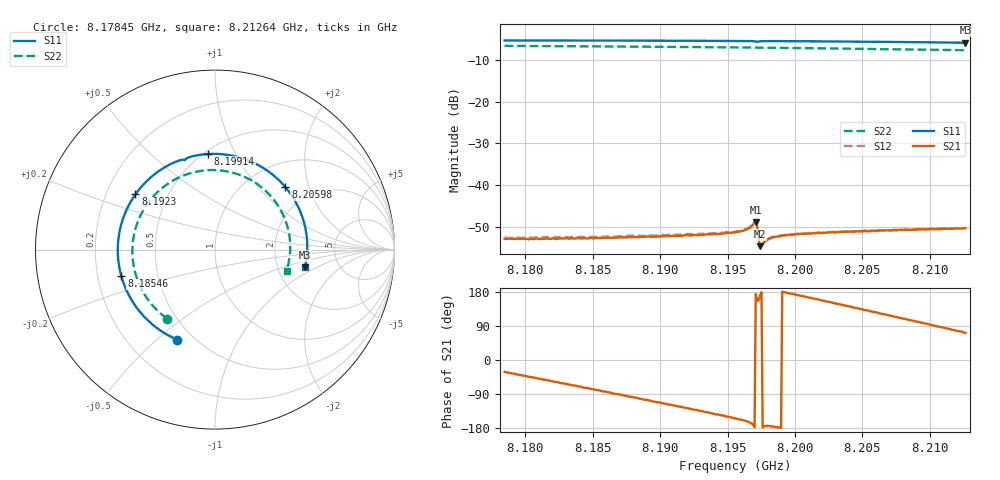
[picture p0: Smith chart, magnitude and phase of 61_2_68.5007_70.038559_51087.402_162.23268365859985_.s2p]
#  HZ  S  RI  R  50.00
! Rohde & Schwarz Vector Network Analyzer
! Rohde-Schwarz,ZNB20-2Port,1311601062101988,3.16
! Created: UTC 3/20/2024, 5:06:24 PM
! freq[Hz]  re:S11  im:S11  re:S21  im:S21  re:S12  im:S12  re:S22  im:S22
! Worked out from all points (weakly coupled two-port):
!   401 points, 8.17845 GHz to 8.21264 GHz, reference 50 ohm
!   highest |S21| = -48.89 dB at 8.19709 GHz (marker M1); lowest = -54.7 dB at 8.19743 GHz (marker M2)
!   lowest |S11| = -5.8 dB at 8.21264 GHz (marker M3), VSWR 3.09, Z = 143 - j37.9 ohm
!   |S11| at or under -10 dB: nowhere
!   |S22| runs from -7.6 to -6.6 dB; largest |S21 - S12| = 0.0002
!   S11 on the Smith chart (normalised r, x): 8.17845 GHz: 0.41, -0.58; 8.18546 GHz: 0.30, -0.13; 8.1923 GHz: 0.33, +0.28; 8.19914 GHz: 0.53, +0.78; 8.20598 GHz: 1.48, +1.42; 8.21264 GHz: 2.86, -0.76
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8.17845e9  -0.2117 -0.5012  0.00191 -0.00117  0.00199 -0.00126  -0.2686 -0.3842
8.1811e9  -0.365 -0.4028  0.00145 -0.00172  0.00147 -0.00181  -0.3731 -0.2788
8.184177e9  -0.491 -0.2318  0.00072 -0.00214  0.000701 -0.00228  -0.4456 -0.1242
8.18546e9  -0.5219 -0.1481  0.0004 -0.00226  0.000358 -0.00238  -0.4582 -0.054
8.187682e9  -0.5418 0.00521  -0.000284 -0.00234  -0.000295 -0.00241  -0.4539 0.069
8.189905e9  -0.5172 0.1583  -0.000886 -0.00222  -0.000991 -0.00229  -0.4169 0.1864
8.192298e9  -0.4431 0.3081  -0.00156 -0.00189  -0.00167 -0.00192  -0.3431 0.297
8.195547e9  -0.2753 0.4615  -0.00241 -0.00119  -0.00247 -0.00112  -0.1974 0.4034
8.196401e9  -0.2205 0.4888  -0.00276 -0.000934  -0.00285 -0.00083  -0.1524 0.421
8.196914e9  -0.1837 0.5004  -0.00336 -0.000431  -0.00347 -0.000324  -0.1247 0.429
8.197e9  -0.1771 0.5008  -0.00353 -0.000157  -0.0036 -3.33e-05  -0.12 0.4302
8.197085e9  -0.171 0.4997  -0.00358 0.00037  -0.00362 0.000529  -0.1154 0.4312
8.197427e9  -0.159 0.5078  -0.00182 0.000249  -0.00182 0.000308  -0.0968 0.4354
8.197598e9  -0.1468 0.5134  -0.00194 -7.25e-05  -0.00198 1.51e-05  -0.0872 0.4371
8.198196e9  -0.104 0.5246  -0.00226 -0.00021  -0.00233 -0.000119  -0.0536 0.4414
8.199137e9  -0.0375 0.5327  -0.00248 3.68e-05  -0.00247 0.000126  -0.000335 0.443
8.201274e9  0.1128 0.5195  -0.00251 0.000766  -0.00254 0.000883  0.1193 0.4224
8.203582e9  0.2633 0.458  -0.00222 0.00157  -0.00221 0.00167  0.2378 0.3634
8.205975e9  0.392 0.3485  -0.00168 0.00224  -0.0016 0.00235  0.337 0.2656
8.207001e9  0.4352 0.2896  -0.00133 0.00253  -0.00123 0.00257  0.3692 0.2144
8.209822e9  0.5068 0.103  -0.000272 0.00291  -0.000176 0.00294  0.4173 0.0535
8.212643e9  0.5014 -0.0978  0.000958 0.00285  0.000979 0.00285  0.3988 -0.117
